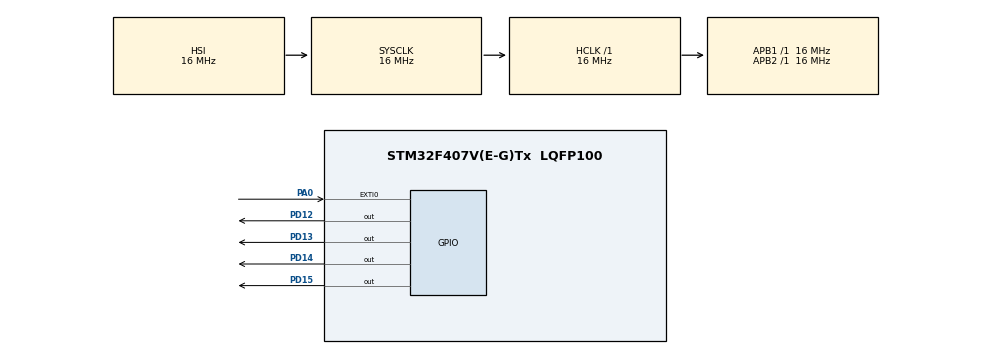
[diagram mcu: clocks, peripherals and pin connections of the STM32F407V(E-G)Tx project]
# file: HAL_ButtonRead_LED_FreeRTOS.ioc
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FREERTOS.Tasks01=defaultTask,0,128,StartDefaultTask,Default,NULL,Dynamic,NULL,NULL;buttonReadTask,-3,128,buttonReadTaskFunction,Default,NULL,Dynamic,NULL,NULL;ledFlashTask,-3,128,ledFlashTaskFunction,Default,NULL,Dynamic,NULL,NULL
Mcu.Family=STM32F4
Mcu.Name=STM32F407V(E-G)Tx
Mcu.Package=LQFP100
NVIC.PriorityGroup=NVIC_PRIORITYGROUP_4
NVIC.TIM7_IRQn=true\:15\:0\:false\:false\:true\:false\:false\:true\:true
NVIC.TimeBase=TIM7_IRQn
NVIC.TimeBaseIP=TIM7
PA0-WKUP.Signal=GPXTI0
PD12.Signal=GPIO_Output
PD13.Signal=GPIO_Output
PD14.Signal=GPIO_Output
PD15.Signal=GPIO_Output
ProjectManager.HeapSize=0x200
ProjectManager.StackSize=0x400
ProjectManager.TargetToolchain=Makefile
RCC.AHBFreq_Value=16000000
RCC.APB1Freq_Value=16000000
RCC.APB2Freq_Value=16000000
RCC.CortexFreq_Value=16000000
RCC.HSE_VALUE=25000000
RCC.HSI_VALUE=16000000
RCC.LSE_VALUE=32768
RCC.SYSCLKFreq_VALUE=16000000
RCC.VCOOutputFreq_Value=192000000
VP_FREERTOS_VS_CMSIS_V1.Mode=CMSIS_V1
VP_SYS_VS_tim7.Mode=TIM7
board=custom

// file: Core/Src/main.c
/* USER CODE BEGIN Header */
/**
  ******************************************************************************
  * @file           : main.c
  * @brief          : Main program body
  ******************************************************************************
  * @attention
  *
  * Copyright (c) 2026 STMicroelectronics.
  * All rights reserved.
  *
  * This software is licensed under terms that can be found in the LICENSE file
  * in the root directory of this software component.
  * If no LICENSE file comes with this software, it is provided AS-IS.
  *
  ******************************************************************************
  */
/* USER CODE END Header */
#include "main.h"
#include "cmsis_os.h"

TaskHandle_t defaultTaskHandle;
TaskHandle_t buttonReadTaskHandle;
TaskHandle_t ledFlashTaskHandle;
/* USER CODE BEGIN PV */
volatile uint8_t buttonCount = 0;

/* USER CODE END PV */

void SystemClock_Config(void);
static void MX_GPIO_Init(void);
void StartDefaultTask(void const * argument);
void buttonReadTaskFunction(void const * argument);
void ledFlashTaskFunction(void const * argument);

int main(void)
{

  /* MCU Configuration--------------------------------------------------------*/

  /* Reset of all peripherals, Initializes the Flash interface and the Systick. */
  HAL_Init();

  /* Configure the system clock */
  SystemClock_Config();

  /* Initialize all configured peripherals */
  MX_GPIO_Init();
  /* USER CODE BEGIN 2 */
  HAL_NVIC_SetPriority(EXTI0_IRQn, 5, 0);
  HAL_NVIC_EnableIRQ(EXTI0_IRQn);
  SEGGER_SYSVIEW_Conf();

  /* USER CODE END 2 */

  /* Create the thread(s) */
  /* definition and creation of defaultTask */
  xTaskCreate(StartDefaultTask, "default", configMINIMAL_STACK_SIZE, NULL, 1, &defaultTaskHandle);

  /* definition and creation of buttonReadTask */
  xTaskCreate(buttonReadTaskFunction, "button read task", configMINIMAL_STACK_SIZE, NULL, 1, &buttonReadTaskHandle);

  /* definition and creation of ledFlashTask */
  xTaskCreate(ledFlashTaskFunction, "led flash task", configMINIMAL_STACK_SIZE, NULL, 1, &ledFlashTaskHandle);

  /* Start scheduler */
  vTaskStartScheduler();

  /* We should never get here as control is now taken by the scheduler */

  /* Infinite loop */
  while (1)
  {

  }
}

void SystemClock_Config(void)
{
  RCC_OscInitTypeDef RCC_OscInitStruct = {0};
  RCC_ClkInitTypeDef RCC_ClkInitStruct = {0};

  /** Configure the main internal regulator output voltage
  */
  __HAL_RCC_PWR_CLK_ENABLE();
  __HAL_PWR_VOLTAGESCALING_CONFIG(PWR_REGULATOR_VOLTAGE_SCALE1);

  /** Initializes the RCC Oscillators according to the specified parameters
  * in the RCC_OscInitTypeDef structure.
  */
  RCC_OscInitStruct.OscillatorType = RCC_OSCILLATORTYPE_HSI;
  RCC_OscInitStruct.HSIState = RCC_HSI_ON;
  RCC_OscInitStruct.HSICalibrationValue = RCC_HSICALIBRATION_DEFAULT;
  RCC_OscInitStruct.PLL.PLLState = RCC_PLL_NONE;
  if (HAL_RCC_OscConfig(&RCC_OscInitStruct) != HAL_OK)
  {
    Error_Handler();
  }

  /** Initializes the CPU, AHB and APB buses clocks
  */
  RCC_ClkInitStruct.ClockType = RCC_CLOCKTYPE_HCLK|RCC_CLOCKTYPE_SYSCLK
                              |RCC_CLOCKTYPE_PCLK1|RCC_CLOCKTYPE_PCLK2;
  RCC_ClkInitStruct.SYSCLKSource = RCC_SYSCLKSOURCE_HSI;
  RCC_ClkInitStruct.AHBCLKDivider = RCC_SYSCLK_DIV1;
  RCC_ClkInitStruct.APB1CLKDivider = RCC_HCLK_DIV1;
  RCC_ClkInitStruct.APB2CLKDivider = RCC_HCLK_DIV1;

  if (HAL_RCC_ClockConfig(&RCC_ClkInitStruct, FLASH_LATENCY_0) != HAL_OK)
  {
    Error_Handler();
  }
}

static void MX_GPIO_Init(void)
{
  GPIO_InitTypeDef GPIO_InitStruct = {0};

  /* GPIO Ports Clock Enable */
  __HAL_RCC_GPIOA_CLK_ENABLE();
  __HAL_RCC_GPIOD_CLK_ENABLE();

  /*Configure GPIO pin Output Level */
  HAL_GPIO_WritePin(GPIOD, GPIO_PIN_12|GPIO_PIN_13|GPIO_PIN_14|GPIO_PIN_15, GPIO_PIN_RESET);

  /*Configure GPIO pin : PA0 */
  GPIO_InitStruct.Pin = GPIO_PIN_0;
  GPIO_InitStruct.Mode = GPIO_MODE_IT_RISING;
  GPIO_InitStruct.Pull = GPIO_NOPULL;
  HAL_GPIO_Init(GPIOA, &GPIO_InitStruct);

  /*Configure GPIO pins : PD12 PD13 PD14 PD15 */
  GPIO_InitStruct.Pin = GPIO_PIN_12|GPIO_PIN_13|GPIO_PIN_14|GPIO_PIN_15;
  GPIO_InitStruct.Mode = GPIO_MODE_OUTPUT_PP;
  GPIO_InitStruct.Pull = GPIO_NOPULL;
  GPIO_InitStruct.Speed = GPIO_SPEED_FREQ_LOW;
  HAL_GPIO_Init(GPIOD, &GPIO_InitStruct);

}

/* USER CODE BEGIN 4 */

void EXTI0_IRQHandler(void)
{
  HAL_GPIO_EXTI_IRQHandler(GPIO_PIN_0);
}

void HAL_GPIO_EXTI_Callback(uint16_t GPIO_Pin){
  static TickType_t lastTick = 0;
  TickType_t currentTick = xTaskGetTickCountFromISR();

  if (GPIO_Pin == GPIO_PIN_0)
  {
    if ((currentTick - lastTick) > 50)
    {
      lastTick = currentTick;
      BaseType_t xHigherPriorityTaskWoken = pdFALSE;
      vTaskNotifyGiveFromISR(buttonReadTaskHandle, &xHigherPriorityTaskWoken);
      portYIELD_FROM_ISR(xHigherPriorityTaskWoken);
    }
  }
}

/* USER CODE END 4 */

void StartDefaultTask(void const * argument)
{
  /* USER CODE BEGIN 5 */
  /* Infinite loop */
  for(;;)
  {
    vTaskDelay(1);
  }
  /* USER CODE END 5 */
}

void buttonReadTaskFunction(void const * argument)
{
  /* USER CODE BEGIN buttonReadTaskFunction */
  /* Infinite loop */
  for(;;)
  {
    ulTaskNotifyTake(pdTRUE, portMAX_DELAY);
    buttonCount++;
    if (buttonCount > 4)
    {
      buttonCount = 0;
    }
    vTaskDelay(pdMS_TO_TICKS(1));
  }
  /* USER CODE END buttonReadTaskFunction */
}

void ledFlashTaskFunction(void const * argument)
{
  /* USER CODE BEGIN ledFlashTaskFunction */
  /* Infinite loop */
  for(;;)
  {
    HAL_GPIO_TogglePin(GPIOD, GPIO_PIN_12 | GPIO_PIN_13 | GPIO_PIN_14 | GPIO_PIN_15);
    if (buttonCount == 0)
    {
      vTaskDelay(pdMS_TO_TICKS(1000));
    } else if (buttonCount == 1){
      vTaskDelay(pdMS_TO_TICKS(750));
    }else if (buttonCount == 2){
      vTaskDelay(pdMS_TO_TICKS(500));
    }else if (buttonCount == 3){
      vTaskDelay(pdMS_TO_TICKS(250));
    }else if (buttonCount == 4){
      vTaskDelay(pdMS_TO_TICKS(100));
    }
    vTaskDelay(pdMS_TO_TICKS(10));
  }
  /* USER CODE END ledFlashTaskFunction */
}

void HAL_TIM_PeriodElapsedCallback(TIM_HandleTypeDef *htim)
{
  if (htim->Instance == TIM7)
  {
    HAL_IncTick();
  }
}

void Error_Handler(void)
{
  __disable_irq();
  while (1)
  {
  }
}
